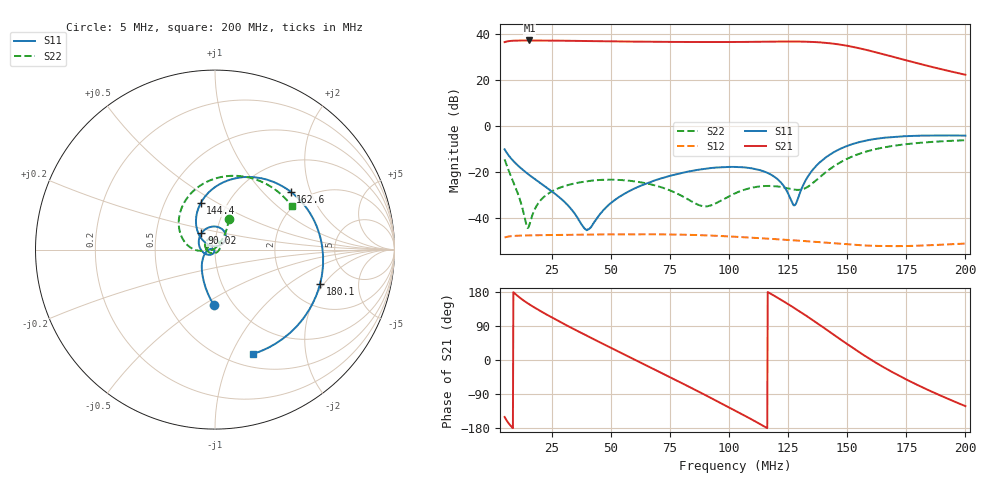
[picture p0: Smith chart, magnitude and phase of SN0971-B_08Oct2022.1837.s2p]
# Hz S DB R 50
! CMT, M5045, 22160017, 22.3.3/2
! Date: 10/8/2022 18:37:25
! Data: Format (Calibration Info)
! Freq	S11:dB/Ang(F2)	S21:dB/Ang(F2)	S12:dB/Ang(F2)	S22:dB/Ang(F2)
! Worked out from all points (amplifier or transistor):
!   1001 points, 5 MHz to 200 MHz, reference 50 ohm
!   highest |S21| = 37.2 dB at 15.53 MHz (marker M1)
!   |S21| within 3 dB of that: start of sweep to 153.3 MHz
!   unconditionally stable (mu >= 1): start of sweep to end of sweep
!   at 37.37 MHz: K = 1.78, MAG = 37.0 dB, |S12| = -47.3 dB
!   at 102.5 MHz: K = 2.00, MAG = 36.6 dB, |S12| = -48.2 dB
!   at 200 MHz: K = 6.78, MAG = 25.4 dB, |S12| = -51.1 dB
!   S11 on the Smith chart (normalised r, x): 5 MHz: 0.82, -0.56; 90.02 MHz: 0.85, +0.16; 144.4 MHz: 0.75, +0.42; 162.6 MHz: 1.64, +1.47; 180.1 MHz: 2.99, -1.83; 200 MHz: 0.64, -1.21
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5000000  -10.14 -90.9  36.50 -150.3  -48.52 -147.4  -14.51 65.9
9095000  -15.65 -114.5  37.12 176.7  -47.78 179.5  -25.37 53.5
1.553e7  -21.37 -143.1  37.22 146.7  -47.56 149.1  -42.88 155.4
2.6255e7  -29.39 179.2  37.15 108.0  -47.40 111.4  -27.77 -178.5
3.7565e7  -42.84 175.5  37.00 71.1  -47.26 76.0  -24.37 157.8
4.634e7  -37.16 -107.6  36.89 43.5  -47.16 49.8  -23.40 135.4
5.4335e7  -30.34 -121.9  36.78 18.6  -47.09 26.3  -23.49 113.0
6.2135e7  -26.19 -144.8  36.70 -5.5  -47.07 3.7  -24.39 89.7
7.013e7  -23.12 -169.2  36.62 -30.2  -47.10 -19.5  -26.26 63.4
8.066e7  -20.24 158.5  36.56 -63.1  -47.27 -50.2  -30.78 17.8
9.002e7  -18.55 129.8  36.54 -92.7  -47.56 -77.8  -34.96 -60.2
1.025e8  -17.79 91.7  36.55 -133.2  -48.16 -115.8  -29.28 -150.2
1.1147e8  -18.79 64.5  36.63 -163.4  -48.69 -144.4  -26.48 175.9
1.19465e8  -22.29 42.5  36.73 168.1  -49.20 -172.0  -26.17 155.5
1.26875e8  -33.77 68.3  36.77 140.0  -49.69 159.8  -27.54 153.6
1.35065e8  -19.48 139.6  36.59 106.7  -50.27 125.1  -25.12 -178.3
1.44425e8  -11.32 107.0  35.79 66.1  -51.02 81.1  -17.48 176.0
1.5281e8  -7.65 73.7  34.34 29.9  -51.67 41.1  -12.96 151.6
1.6256e8  -5.50 37.3  31.96 -8.7  -52.17 -1.3  -9.92 121.1
1.6763e8  -4.90 20.1  30.59 -27.0  -52.25 -20.7  -8.92 106.3
1.8011e8  -4.21 -18.0  27.20 -67.1  -52.04 -60.8  -7.37 73.6
2e8  -4.17 -70.0  22.31 -121.7  -51.13 -111.4  -6.17 29.7
